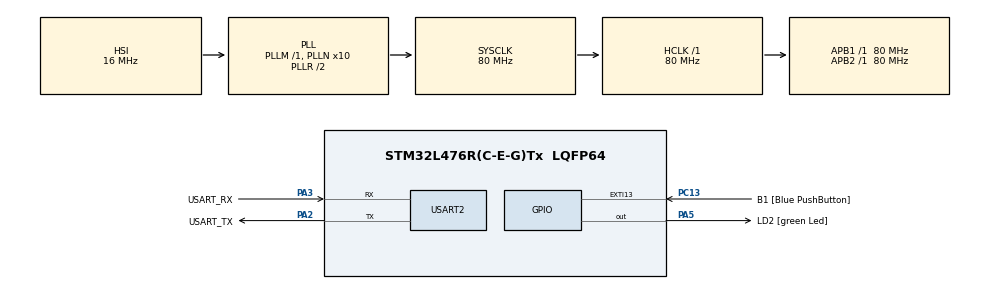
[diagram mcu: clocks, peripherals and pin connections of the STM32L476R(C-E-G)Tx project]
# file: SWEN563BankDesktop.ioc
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FREERTOS.Tasks01=defaultTask,24,128,StartDefaultTask,Default,NULL,Dynamic,NULL,NULL
FREERTOS.configTOTAL_HEAP_SIZE=20000
FREERTOS.configUSE_NEWLIB_REENTRANT=1
Mcu.Family=STM32L4
Mcu.Name=STM32L476R(C-E-G)Tx
Mcu.Package=LQFP64
NVIC.PriorityGroup=NVIC_PRIORITYGROUP_4
NVIC.TIM2_IRQn=true\:15\:0\:false\:false\:true\:false\:false\:true\:true
NVIC.TimeBase=TIM2_IRQn
NVIC.TimeBaseIP=TIM2
NVIC.USART2_IRQn=true\:5\:0\:false\:false\:true\:true\:true\:true\:true
PA13\ (JTMS-SWDIO).GPIO_Label=TMS
PA13\ (JTMS-SWDIO).Mode=Serial_Wire
PA13\ (JTMS-SWDIO).Signal=SYS_JTMS-SWDIO
PA14\ (JTCK-SWCLK).GPIO_Label=TCK
PA14\ (JTCK-SWCLK).Mode=Serial_Wire
PA14\ (JTCK-SWCLK).Signal=SYS_JTCK-SWCLK
PA2.GPIO_Label=USART_TX
PA2.GPIO_Mode=GPIO_MODE_AF_PP
PA2.GPIO_PuPd=GPIO_NOPULL
PA2.GPIO_Speed=GPIO_SPEED_FREQ_VERY_HIGH
PA2.Mode=Asynchronous
PA2.Signal=USART2_TX
PA3.GPIO_Label=USART_RX
PA3.GPIO_Mode=GPIO_MODE_AF_PP
PA3.GPIO_PuPd=GPIO_NOPULL
PA3.GPIO_Speed=GPIO_SPEED_FREQ_VERY_HIGH
PA3.Mode=Asynchronous
PA3.Signal=USART2_RX
PA5.GPIO_Label=LD2 [green Led]
PA5.GPIO_ModeDefaultOutputPP=GPIO_MODE_OUTPUT_PP
PA5.GPIO_PuPd=GPIO_NOPULL
PA5.GPIO_Speed=GPIO_SPEED_FREQ_LOW
PA5.Signal=GPIO_Output
PB3\ (JTDO-TRACESWO).GPIO_Label=SWO
PB3\ (JTDO-TRACESWO).Signal=SYS_JTDO-SWO
PC13.GPIO_Label=B1 [Blue PushButton]
PC13.GPIO_ModeDefaultEXTI=GPIO_MODE_IT_FALLING
PC13.GPIO_PuPd=GPIO_NOPULL
PC13.Signal=GPXTI13
PC14-OSC32_IN\ (PC14).Mode=LSE-External-Oscillator
PC14-OSC32_IN\ (PC14).Signal=RCC_OSC32_IN
PC15-OSC32_OUT\ (PC15).Mode=LSE-External-Oscillator
PC15-OSC32_OUT\ (PC15).Signal=RCC_OSC32_OUT
PH0-OSC_IN\ (PH0).Signal=RCC_OSC_IN
PH1-OSC_OUT\ (PH1).Signal=RCC_OSC_OUT
ProjectManager.HeapSize=0x200
ProjectManager.StackSize=0x400
ProjectManager.TargetToolchain=STM32CubeIDE
RCC.ADCFreq_Value=64000000
RCC.AHBFreq_Value=80000000
RCC.APB1Freq_Value=80000000
RCC.APB1TimFreq_Value=80000000
RCC.APB2Freq_Value=80000000
RCC.APB2TimFreq_Value=80000000
RCC.CK48CLockSelection=RCC_USBCLKSOURCE_MSI
RCC.CortexFreq_Value=80000000
RCC.HCLKFreq_Value=80000000
RCC.HSE_VALUE=8000000
RCC.HSI_VALUE=16000000
RCC.MSI_VALUE=4000000
RCC.PLLN=10
RCC.PLLSourceVirtual=RCC_PLLSOURCE_HSI
RCC.PREFETCH_ENABLE=1
RCC.SYSCLKFreq_VALUE=80000000
RCC.SYSCLKSource=RCC_SYSCLKSOURCE_PLLCLK
RCC.USBFreq_Value=4000000
RCC.VCOOutputFreq_Value=160000000
USART2.VirtualMode-Asynchronous=VM_ASYNC
VP_FREERTOS_VS_CMSIS_V2.Mode=CMSIS_V2
VP_RNG_VS_RNG.Mode=RNG_Activate
VP_SYS_VS_tim2.Mode=TIM2
board=NUCLEO-L476RG

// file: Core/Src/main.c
/* USER CODE BEGIN Header */
/**
  ******************************************************************************
  * @file           : main.c
  * @brief          : Main program body
  ******************************************************************************
  * @attention
  *
  * Copyright (c) 2024 STMicroelectronics.
  * All rights reserved.
  *
  * This software is licensed under terms that can be found in the LICENSE file
  * in the root directory of this software component.
  * If no LICENSE file comes with this software, it is provided AS-IS.
  *
  ******************************************************************************
  */
/* USER CODE END Header */
#include "main.h"
#include "cmsis_os.h"

/* USER CODE BEGIN Includes */
#include "task.h"
#include "string.h"
#include "stdio.h"
#include "stdint.h"
#include "queue.h"
#include "UART.h"
#include "semphr.h"
/* USER CODE END Includes */

/* USER CODE BEGIN PD */
#define SIM_MINUTE_TO_MILIS (100)
/* USER CODE END PD */

RNG_HandleTypeDef hrng;

/* Definitions for defaultTask */
osThreadId_t defaultTaskHandle;
const osThreadAttr_t defaultTask_attributes = {
  .name = "defaultTask",
  .stack_size = 128 * 4,
  .priority = (osPriority_t) osPriorityNormal,
};
/* USER CODE BEGIN PV */
void TellerTask (void *params);
void QueueTask (void *params);
void DisplayTask (void *params);

static QueueHandle_t CustomerQueue;
static SemaphoreHandle_t CustomerMutex;
static uint16_t queue_count = 0;
osThreadAttr_t attr = {0};

/**
 * 0 - idle
 * 1 - working
 * 2 - break
 */
uint8_t teller_states[] = {0, 0, 0};
uint8_t teller_num_breaks[] = {0, 0, 0};
/* USER CODE END PV */

void SystemClock_Config(void);
static void MX_GPIO_Init(void);
static void MX_RNG_Init(void);

int main(void)
{

  /* MCU Configuration--------------------------------------------------------*/

  /* Reset of all peripherals, Initializes the Flash interface and the Systick. */
  HAL_Init();

  /* Configure the system clock */
  SystemClock_Config();

  /* Initialize all configured peripherals */
  MX_GPIO_Init();
  MX_USART2_UART_Init();
  MX_RNG_Init();

  /* Init scheduler */
  osKernelInitialize();

  /* USER CODE BEGIN RTOS_MUTEX */
  /* add mutexes, ... */
  CustomerQueue = xQueueCreate(100, sizeof(uint32_t));
  /* USER CODE END RTOS_MUTEX */

  /* USER CODE BEGIN RTOS_SEMAPHORES */
  /* add semaphores, ... */
  CustomerMutex = xSemaphoreCreateMutex();
  /* USER CODE END RTOS_SEMAPHORES */

  /* Create the thread(s) */
  /* creation of defaultTask */

  /* USER CODE BEGIN RTOS_THREADS */
  /* add threads, ... */
  attr.stack_size = 1000;
  osThreadNew(TellerTask, (void *) 0, &attr);
  osThreadNew(TellerTask, (void *) 1, &attr);
  osThreadNew(TellerTask, (void *) 2, &attr);
  osThreadNew(QueueTask, "Queue", &attr);
  osThreadNew(DisplayTask, "Display", &attr);
  /* USER CODE END RTOS_THREADS */

  /* Start scheduler */
  osKernelStart();

  /* We should never get here as control is now taken by the scheduler */

  /* Infinite loop */
  while (1)
  {

  }
}

void SystemClock_Config(void)
{
  RCC_OscInitTypeDef RCC_OscInitStruct = {0};
  RCC_ClkInitTypeDef RCC_ClkInitStruct = {0};

  /** Configure the main internal regulator output voltage
  */
  if (HAL_PWREx_ControlVoltageScaling(PWR_REGULATOR_VOLTAGE_SCALE1) != HAL_OK)
  {
    Error_Handler();
  }

  /** Configure LSE Drive Capability
  */
  HAL_PWR_EnableBkUpAccess();
  __HAL_RCC_LSEDRIVE_CONFIG(RCC_LSEDRIVE_LOW);

  /** Initializes the RCC Oscillators according to the specified parameters
  * in the RCC_OscInitTypeDef structure.
  */
  RCC_OscInitStruct.OscillatorType = RCC_OSCILLATORTYPE_HSI|RCC_OSCILLATORTYPE_LSE
                              |RCC_OSCILLATORTYPE_MSI;
  RCC_OscInitStruct.LSEState = RCC_LSE_ON;
  RCC_OscInitStruct.HSIState = RCC_HSI_ON;
  RCC_OscInitStruct.HSICalibrationValue = RCC_HSICALIBRATION_DEFAULT;
  RCC_OscInitStruct.MSIState = RCC_MSI_ON;
  RCC_OscInitStruct.MSICalibrationValue = 0;
  RCC_OscInitStruct.MSIClockRange = RCC_MSIRANGE_6;
  RCC_OscInitStruct.PLL.PLLState = RCC_PLL_ON;
  RCC_OscInitStruct.PLL.PLLSource = RCC_PLLSOURCE_HSI;
  RCC_OscInitStruct.PLL.PLLM = 1;
  RCC_OscInitStruct.PLL.PLLN = 10;
  RCC_OscInitStruct.PLL.PLLP = RCC_PLLP_DIV7;
  RCC_OscInitStruct.PLL.PLLQ = RCC_PLLQ_DIV2;
  RCC_OscInitStruct.PLL.PLLR = RCC_PLLR_DIV2;
  if (HAL_RCC_OscConfig(&RCC_OscInitStruct) != HAL_OK)
  {
    Error_Handler();
  }

  /** Initializes the CPU, AHB and APB buses clocks
  */
  RCC_ClkInitStruct.ClockType = RCC_CLOCKTYPE_HCLK|RCC_CLOCKTYPE_SYSCLK
                              |RCC_CLOCKTYPE_PCLK1|RCC_CLOCKTYPE_PCLK2;
  RCC_ClkInitStruct.SYSCLKSource = RCC_SYSCLKSOURCE_PLLCLK;
  RCC_ClkInitStruct.AHBCLKDivider = RCC_SYSCLK_DIV1;
  RCC_ClkInitStruct.APB1CLKDivider = RCC_HCLK_DIV1;
  RCC_ClkInitStruct.APB2CLKDivider = RCC_HCLK_DIV1;

  if (HAL_RCC_ClockConfig(&RCC_ClkInitStruct, FLASH_LATENCY_4) != HAL_OK)
  {
    Error_Handler();
  }

  /** Enable MSI Auto calibration
  */
  HAL_RCCEx_EnableMSIPLLMode();
}

static void MX_RNG_Init(void)
{

  hrng.Instance = RNG;
  if (HAL_RNG_Init(&hrng) != HAL_OK)
  {
    Error_Handler();
  }

}

static void MX_GPIO_Init(void)
{
  GPIO_InitTypeDef GPIO_InitStruct = {0};

  /* GPIO Ports Clock Enable */
  __HAL_RCC_GPIOC_CLK_ENABLE();
  __HAL_RCC_GPIOH_CLK_ENABLE();
  __HAL_RCC_GPIOA_CLK_ENABLE();
  __HAL_RCC_GPIOB_CLK_ENABLE();

  /*Configure GPIO pin Output Level */
  HAL_GPIO_WritePin(LD2_GPIO_Port, LD2_Pin, GPIO_PIN_RESET);

  /*Configure GPIO pin : B1_Pin */
  GPIO_InitStruct.Pin = B1_Pin;
  GPIO_InitStruct.Mode = GPIO_MODE_IT_FALLING;
  GPIO_InitStruct.Pull = GPIO_NOPULL;
  HAL_GPIO_Init(B1_GPIO_Port, &GPIO_InitStruct);

  /*Configure GPIO pin : LD2_Pin */
  GPIO_InitStruct.Pin = LD2_Pin;
  GPIO_InitStruct.Mode = GPIO_MODE_OUTPUT_PP;
  GPIO_InitStruct.Pull = GPIO_NOPULL;
  GPIO_InitStruct.Speed = GPIO_SPEED_FREQ_LOW;
  HAL_GPIO_Init(LD2_GPIO_Port, &GPIO_InitStruct);

/* USER CODE BEGIN MX_GPIO_Init_2 */
  GPIO_InitStruct.Pin = S1_Pin;
  GPIO_InitStruct.Mode = GPIO_MODE_IT_FALLING;
  GPIO_InitStruct.Pull = GPIO_PULLDOWN;
  HAL_GPIO_Init(GPIOA, &GPIO_InitStruct);
  HAL_NVIC_SetPriority(EXTI1_IRQn, 5, 0);
  HAL_NVIC_EnableIRQ(EXTI1_IRQn);

  GPIO_InitStruct.Pin = S2_Pin;
  GPIO_InitStruct.Mode = GPIO_MODE_IT_FALLING;
  GPIO_InitStruct.Pull = GPIO_PULLDOWN;
  HAL_GPIO_Init(GPIOA, &GPIO_InitStruct);
  HAL_NVIC_SetPriority(EXTI4_IRQn, 5, 0);
  HAL_NVIC_EnableIRQ(EXTI4_IRQn);

  GPIO_InitStruct.Pin = S3_Pin;
  GPIO_InitStruct.Mode = GPIO_MODE_IT_FALLING;
  GPIO_InitStruct.Pull = GPIO_PULLDOWN;
  HAL_GPIO_Init(GPIOB, &GPIO_InitStruct);
  HAL_NVIC_SetPriority(EXTI0_IRQn, 5, 0);
  HAL_NVIC_EnableIRQ(EXTI0_IRQn);
/* USER CODE END MX_GPIO_Init_2 */
}

/* USER CODE BEGIN 4 */

uint32_t generate_random_number()
{
	return RNG->DR;
}

void TellerTask (void *params)
{
	uint8_t teller_id = (intptr_t) params;
	uint32_t customer = 0;
	uint32_t rnd;

	while (1)
	{
		// if teller on break, go on break!
		if (teller_states[teller_id] == 2)
		{
			vTaskDelay(pdMS_TO_TICKS(SIM_MINUTE_TO_MILIS * 15));
			teller_states[teller_id] = 0;
		}

		// take customer but, if none wait a minute
		xSemaphoreTake(CustomerMutex, portMAX_DELAY);
		if (xQueueReceive(CustomerQueue, &customer, portMAX_DELAY) == pdTRUE)
		{
			rnd = generate_random_number() % 16; // 30 secs to 8 mins, 30 sec intervals
			xSemaphoreGive(CustomerMutex);
			queue_count--;
			// if the teller is meant to be on break, wait to finish the current task
			if (teller_states[teller_id] != 2)
				teller_states[teller_id] = 1;

			// 30 sec intervals
			vTaskDelay(pdMS_TO_TICKS((SIM_MINUTE_TO_MILIS / 2) * (rnd + 1)));

			// reset the teller state as long as they aren't meant to be on break
			if (teller_states[teller_id] != 2)
				teller_states[teller_id] = 0;
		}
		else
		{
			xSemaphoreGive(CustomerMutex);
			vTaskDelay(pdMS_TO_TICKS(SIM_MINUTE_TO_MILIS));
		}
	}
}

void QueueTask (void *params)
{
	uint32_t xDelay;
	uint32_t rnd;

	for (;;)
	{
		// determine how long to wait to add next customer
		rnd = generate_random_number() % 4;
		xDelay = pdMS_TO_TICKS(SIM_MINUTE_TO_MILIS  * (rnd + 1));
//		xDelay = pdMS_TO_TICKS(1000);

		// attempt to add customer
		if (xQueueSend(CustomerQueue, (void *) 1, portMAX_DELAY) == pdPASS)
		{
			queue_count++;
		}
		vTaskDelay(xDelay);
	}
}

void DisplayTask (void *params)
{
	uint32_t minutes;
	uint8_t hrs;
	uint8_t mins;

	printf("\r\n");
	while (1)
	{
		minutes = xTaskGetTickCount() / pdMS_TO_TICKS(100);
		mins = minutes % 60;
		hrs = (((minutes / 60) + 8) % 12) + 1;

		printf("TIME: %02d:%02d\tIN QUEUE[%02d]\tTELLER STATUS? %d %d %d\tNUM BREAKS PER TELLER %02d %02d %02d\r", hrs, mins, queue_count, teller_states[0], teller_states[1], teller_states[2], teller_num_breaks[0], teller_num_breaks[1], teller_num_breaks[2]);
		vTaskDelay(pdMS_TO_TICKS(SIM_MINUTE_TO_MILIS));
	}
}

void put_teller_on_break (uint8_t teller_id)
{
	teller_states[teller_id] = 2;
	teller_num_breaks[teller_id]++;
}

/* USER CODE END 4 */

/* USER CODE BEGIN Header_StartDefaultTask */

void HAL_TIM_PeriodElapsedCallback(TIM_HandleTypeDef *htim)
{
  if (htim->Instance == TIM2) {
    HAL_IncTick();
  }
}

void Error_Handler(void)
{
  __disable_irq();
  while (1)
  {
  }
}
